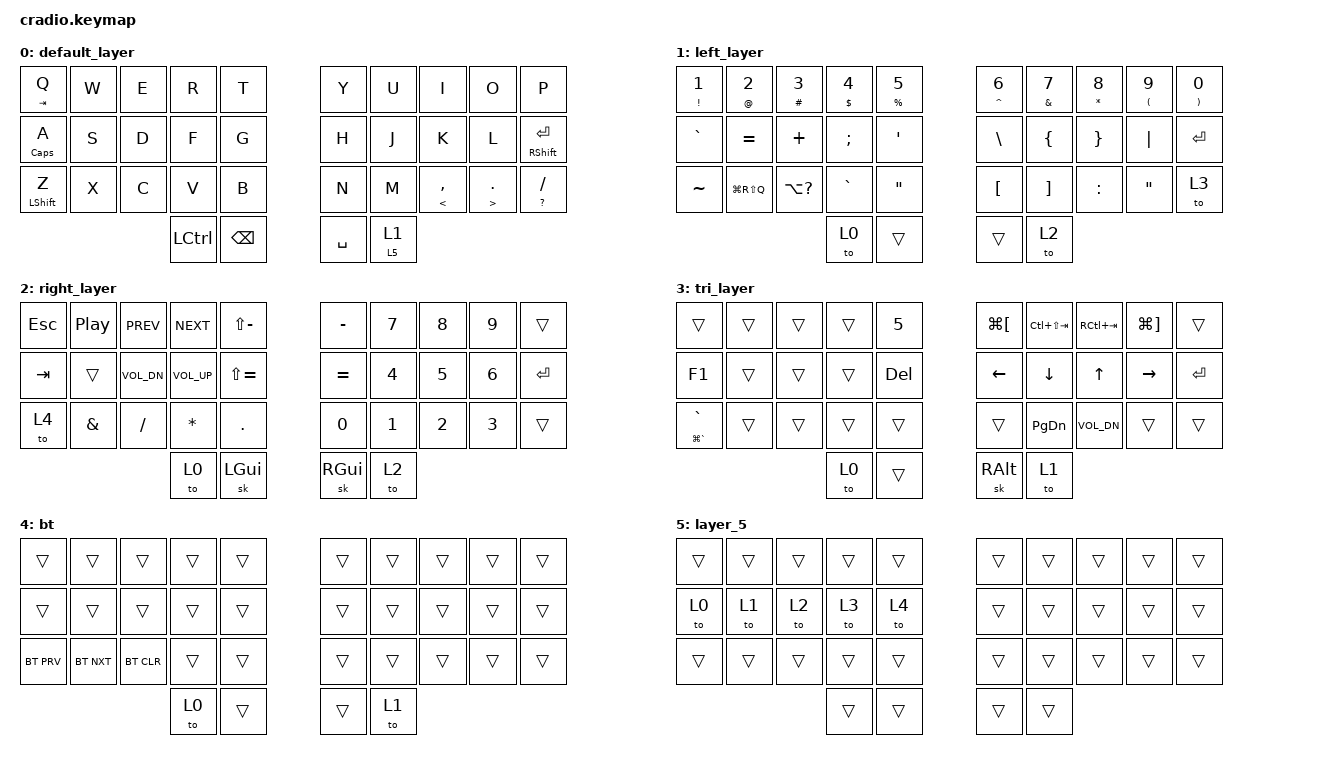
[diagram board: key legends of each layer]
/*
 * Copyright (c) 2020 The ZMK Contributors
 *
 * SPDX-License-Identifier: MIT
 */

#include <behaviors.dtsi>
#include <dt-bindings/zmk/bt.h>
#include <dt-bindings/zmk/keys.h>

&mt {
    flavor = "balanced";
    tapping_term_ms = <200>;
    tapping-term-ms = <275>;
};

/ {
    behaviors {
        hm: homerow_mods {
            compatible = "zmk,behavior-hold-tap";
            label = "HOMEROW_MODS";
            #binding-cells = <2>;
            tapping-term-ms = <200>;
            quick_tap_ms = <0>;
            flavor = "tap-preferred";
            bindings = <&kp>, <&kp>;
        };

        td: tapdance {
            compatible = "zmk,behavior-hold-tap";
            label = "TAPDANCE";
            #binding-cells = <2>;
            tapping-term-ms = <150>;
            quick_tap_ms = <0>;
            flavor = "tap-preferred";
            bindings = <&kp>, <&kp>;
        };

        ls: ls {
            compatible = "zmk,behavior-hold-tap";
            label = "LS";
            bindings = <&to>, <&to>;

            #binding-cells = <2>;
            tapping-term-ms = <200>;
            flavor = "balanced";
        };
    };

    keymap {
        compatible = "zmk,keymap";

        default_layer {
            bindings = <
&td TAB Q         &kp W  &kp E  &kp R      &kp T            &kp Y      &kp U    &kp I                &kp O                    &kp P
&td CAPSLOCK A    &kp S  &kp D  &kp F      &kp G            &kp H      &kp J    &kp K                &kp L                    &td RSHFT ENTER
&td LEFT_SHIFT Z  &kp X  &kp C  &kp V      &kp B            &kp N      &kp M    &td LESS_THAN COMMA  &td GREATER_THAN PERIOD  &td QUESTION SLASH
                                &kp LCTRL  &kp BACKSPACE    &kp SPACE  &ls 5 1
            >;
        };

        left_layer {
            bindings = <
&td EXCLAMATION NUMBER_1  &td AT_SIGN NUMBER_2  &td HASH NUMBER_3  &td DLLR NUMBER_4  &td PRCNT N5    &td CARET NUMBER_6  &td AMPERSAND NUMBER_7  &td ASTERISK NUMBER_8  &td LEFT_PARENTHESIS NUMBER_9  &td RIGHT_PARENTHESIS NUMBER_0
&kp GRAVE                 &kp EQUAL             &kp PLUS           &kp SEMICOLON      &kp SQT         &kp BSLH            &kp LBRC                &kp RBRC               &kp PIPE                       &kp ENTER
&kp TILDE                 &kp LG(RS(Q))         &kp LA(QUESTION)   &kp GRAVE          &kp DQT         &kp LBKT            &kp RIGHT_BRACKET       &kp COLON              &kp DOUBLE_QUOTES              &to 3
                                                                   &to 0              &trans          &trans              &to 2
            >;
        };

        right_layer {
            bindings = <
&kp ESC  &kp C_PP  &kp C_PREV    &kp C_NEXT    &kp LS(MINUS)    &kp MINUS      &kp N7  &kp N8  &kp N9  &trans
&kp TAB  &trans    &kp C_VOL_DN  &kp C_VOL_UP  &kp LS(EQUAL)    &kp EQUAL      &kp N4  &kp N5  &kp N6  &kp ENTER
&to 4    &kp AMPS  &kp SLASH     &kp STAR      &kp DOT          &kp N0         &kp N1  &kp N2  &kp N3  &trans
                                 &to 0         &sk LGUI         &sk RIGHT_GUI  &to 2
            >;
        };

        tri_layer {
            bindings = <
&trans               &trans  &trans  &trans  &kp NUM_5    &kp LG(LBKT)  &kp LC(LS(TAB))  &kp RC(TAB)   &kp LG(RBKT)  &trans
&kp F1               &trans  &trans  &trans  &kp DEL      &kp LEFT      &kp DOWN         &kp UP        &kp RIGHT     &kp ENTER
&td LG(GRAVE) GRAVE  &trans  &trans  &trans  &trans       &trans        &kp PG_DN        &kp K_VOL_DN  &trans        &trans
                                     &to 0   &trans       &sk RALT      &to 1
            >;
        };

        bt {
            bindings = <
&trans      &trans      &trans      &trans  &trans    &trans  &trans  &trans  &trans  &trans
&trans      &trans      &trans      &trans  &trans    &trans  &trans  &trans  &trans  &trans
&bt BT_PRV  &bt BT_NXT  &bt BT_CLR  &trans  &trans    &trans  &trans  &trans  &trans  &trans
                                    &to 0   &trans    &trans  &to 1
            >;
        };

        layer_5 {
            bindings = <
&trans  &trans  &trans  &trans  &trans    &trans  &trans  &trans  &trans  &trans
&to 0   &to 1   &to 2   &to 3   &to 4     &trans  &trans  &trans  &trans  &trans
&trans  &trans  &trans  &trans  &trans    &trans  &trans  &trans  &trans  &trans
                        &trans  &trans    &trans  &trans
            >;
        };
    };
};
